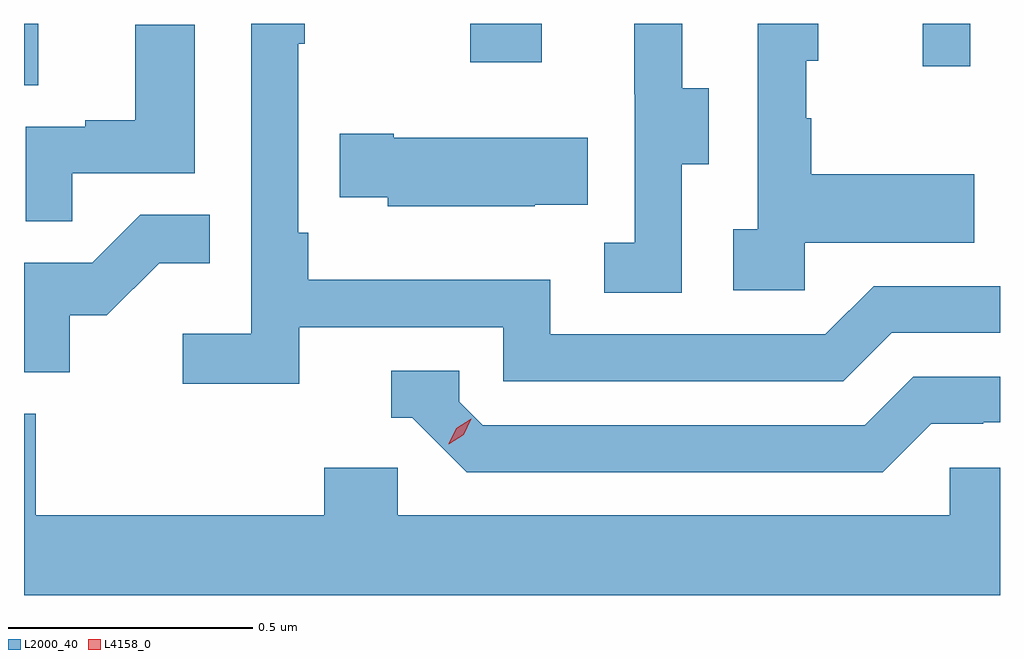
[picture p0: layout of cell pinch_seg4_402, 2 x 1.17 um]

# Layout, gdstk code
import gdstk
lib = gdstk.Library(unit=1e-6, precision=1e-09)
def R(c, l, rs):  # rectangles x0, y0, x1, y1
    for r in rs: c.add(gdstk.rectangle(r[:2], r[2:], *l))
def P(c, l, *ps):  # polygons
    for p in ps: c.add(gdstk.Polygon(p, *l))
L2000_40 = (2000, 40)
L4158_0 = (4158, 0)

pinch_seg4_402 = lib.new_cell('pinch_seg4_402')
R(pinch_seg4_402, L2000_40, [(957.008,784.546,957.037,784.672), (958.85,784.584,958.947,784.672), (957.922,784.593,958.069,784.672)])
P(pinch_seg4_402, L2000_40, [(958.356,784.384),(958.411,784.384),(958.411,784.539),(958.357,784.539),(958.357,784.672),(958.259,784.672),(958.259,784.527),(958.26,784.527),(958.26,784.223),(958.197,784.223),(958.197,784.12),(958.356,784.12)],
  [(957.572,784.05),(957.99,784.05),(957.99,783.939),(958.687,783.939),(958.786,784.038),(959.008,784.038),(959.008,784.134),(958.749,784.134),(958.65,784.035),(958.086,784.035),(958.086,784.147),(957.59,784.147),(957.59,784.243),(957.57,784.243),(957.57,784.631),(957.583,784.631),(957.583,784.672),(957.474,784.672),(957.474,784.036),(957.333,784.036),(957.333,783.934),(957.572,783.934)],
  [(958.608,784.223),(958.955,784.223),(958.955,784.363),(958.621,784.363),(958.621,784.478),(958.611,784.478),(958.611,784.596),(958.636,784.596),(958.636,784.672),(958.512,784.672),(958.512,784.25),(958.461,784.25),(958.461,784.125),(958.608,784.125)],
  [(957.107,784.365),(957.358,784.365),(957.358,784.669),(957.236,784.669),(957.236,784.474),(957.133,784.474),(957.133,784.461),(957.012,784.461),(957.012,784.267),(957.107,784.267)],
  [(958.055,784.301),(958.163,784.301),(958.163,784.438),(957.766,784.438),(957.766,784.446),(957.655,784.446),(957.655,784.316),(957.753,784.316),(957.753,784.298),(958.055,784.298)],
  [(957.102,784.074),(957.178,784.074),(957.285,784.181),(957.389,784.181),(957.389,784.28),(957.246,784.28),(957.148,784.182),(957.008,784.182),(957.008,783.957),(957.102,783.957)],
  [(958.867,783.852),(958.974,783.852),(958.974,783.855),(959.008,783.855),(959.008,783.948),(958.83,783.948),(958.731,783.849),(957.948,783.849),(957.9,783.897),(957.9,783.96),(957.761,783.96),(957.761,783.864),(957.804,783.864),(957.915,783.753),(958.768,783.753)],
  [(959.008,783.762),(958.905,783.762),(958.905,783.664),(957.774,783.664),(957.774,783.762),(957.623,783.762),(957.623,783.664),(957.032,783.664),(957.032,783.872),(957.008,783.872),(957.008,783.5),(959.008,783.5)])
P(pinch_seg4_402, L4158_0, [(957.878,783.81),(957.878,783.811),(957.894,783.843),(957.925,783.862),(957.925,783.862),(957.925,783.862),(957.909,783.829),(957.878,783.81)])

lib.write_gds('pinch_seg4_402.gds')
